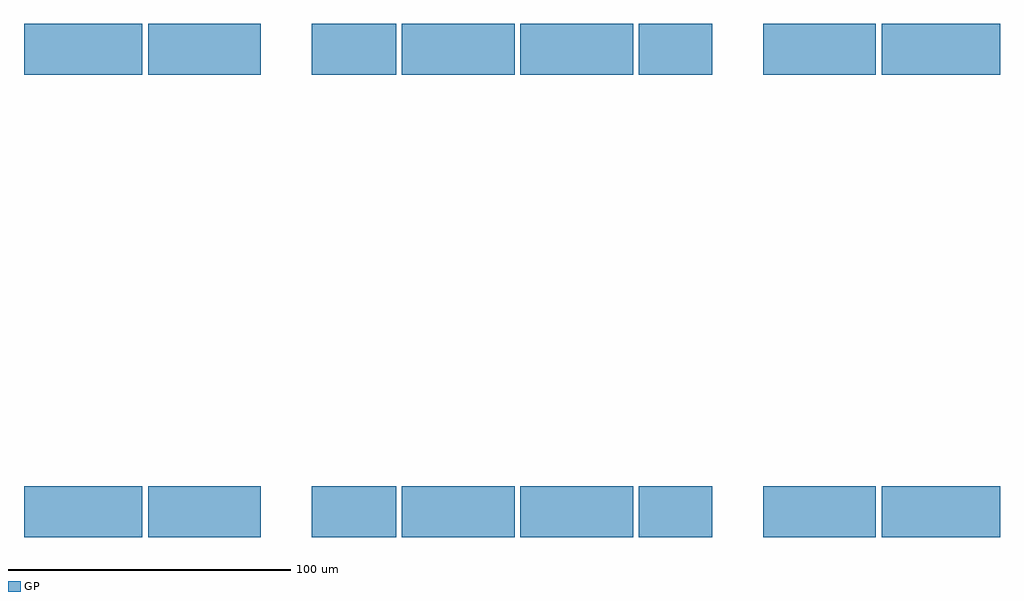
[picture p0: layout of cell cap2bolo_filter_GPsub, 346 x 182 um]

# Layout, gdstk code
import gdstk
lib = gdstk.Library(unit=1e-6, precision=1e-09)
def R(c, l, rs):  # rectangles x0, y0, x1, y1
    for r in rs: c.add(gdstk.rectangle(r[:2], r[2:], *l))
GP = (3, 0)

cap2bolo_filter_gpsub = lib.new_cell('cap2bolo_filter_GPsub')
R(cap2bolo_filter_gpsub, GP, [(-175,-91,-133,-73), (-131,-91,-91,-73), (-73,-91,-43,-73), (-41,-91,-1,-73), (1,-91,41,-73), (43,-91,69,-73), (87,-91,127,-73), (129,-91,171,-73), (-175,73,-133,91), (-131,73,-91,91), (-73,73,-43,91), (-41,73,-1,91), (1,73,41,91), (43,73,69,91), (87,73,127,91), (129,73,171,91)])

lib.write_gds('cap2bolo_filter_GPsub.gds')
